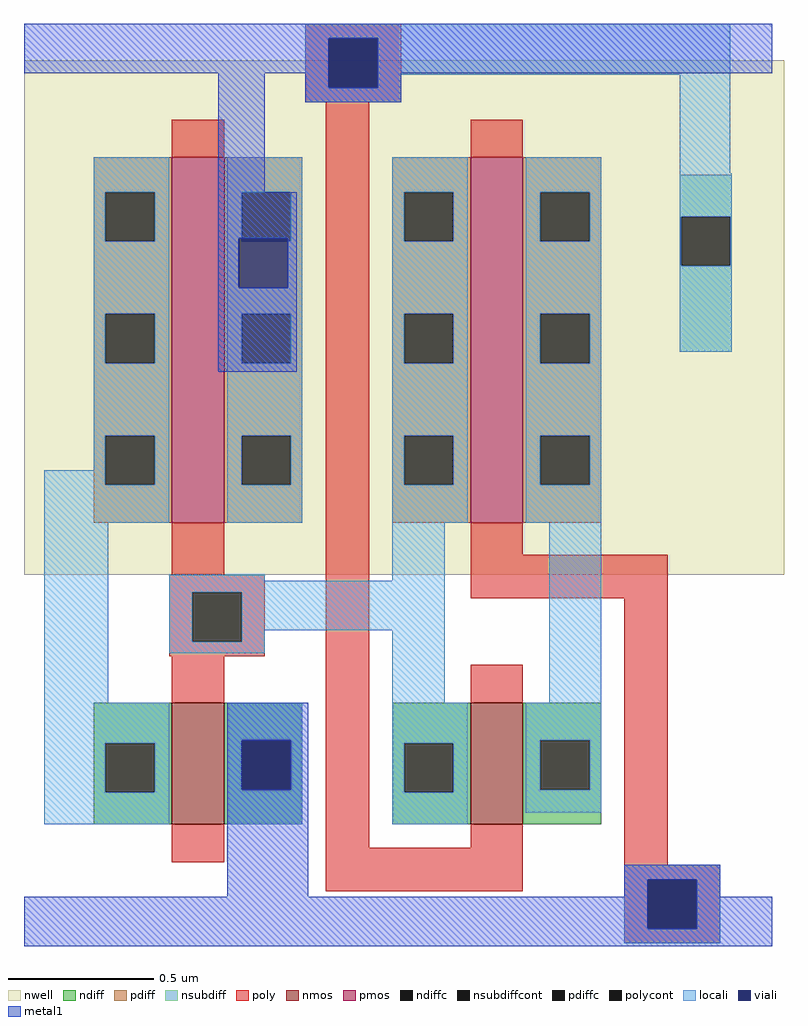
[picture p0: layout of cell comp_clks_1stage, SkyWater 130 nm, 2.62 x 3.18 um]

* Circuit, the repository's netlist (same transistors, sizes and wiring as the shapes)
* SPICE3 file created from /home/sky/fossi_cochlea/mag/clkgen/comp_clks_1stage.ext - technology: sky130A

X0 a_684_618# a_646_734# a_594_618# a_684_618# sky130_fd_pr__nfet_01v8 ad=0p pd=0u as=0p ps=0u w=420000u l=180000u
X1 w_546_790# a_646_734# a_594_618# w_546_790# sky130_fd_pr__pfet_01v8 ad=0p pd=0u as=0p ps=0u w=1.26e+06u l=180000u
X2 a_890_618# w_546_790# a_646_734# a_684_618# sky130_fd_pr__nfet_01v8 ad=0p pd=0u as=0p ps=0u w=420000u l=180000u
X3 a_890_618# a_684_618# a_646_734# w_546_790# sky130_fd_pr__pfet_01v8 ad=0p pd=0u as=0p ps=0u w=1.26e+06u l=180000u

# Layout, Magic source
magic
tech sky130A
magscale 1 2
<< nwell >>
rect 546 790 1070 1145
<< nmos >>
rect 648 618 684 702
rect 854 618 890 702
<< pmos >>
rect 648 826 684 1078
rect 854 826 890 1078
<< ndiff >>
rect 594 674 648 702
rect 594 640 602 674
rect 636 640 648 674
rect 594 618 648 640
rect 684 676 738 702
rect 684 642 696 676
rect 730 642 738 676
rect 684 618 738 642
rect 800 674 854 702
rect 800 640 808 674
rect 842 640 854 674
rect 800 618 854 640
rect 890 676 944 702
rect 890 642 902 676
rect 936 642 944 676
rect 890 618 944 642
<< pdiff >>
rect 594 1054 648 1078
rect 594 1020 602 1054
rect 636 1020 648 1054
rect 594 970 648 1020
rect 594 936 602 970
rect 636 936 648 970
rect 594 886 648 936
rect 594 852 602 886
rect 636 852 648 886
rect 594 826 648 852
rect 684 1054 738 1078
rect 684 1020 696 1054
rect 730 1020 738 1054
rect 684 970 738 1020
rect 684 936 696 970
rect 730 936 738 970
rect 684 886 738 936
rect 684 852 696 886
rect 730 852 738 886
rect 684 826 738 852
rect 800 1054 854 1078
rect 800 1020 808 1054
rect 842 1020 854 1054
rect 800 970 854 1020
rect 800 936 808 970
rect 842 936 854 970
rect 800 886 854 936
rect 800 852 808 886
rect 842 852 854 886
rect 800 826 854 852
rect 890 1054 944 1078
rect 890 1020 902 1054
rect 936 1020 944 1054
rect 890 970 944 1020
rect 890 936 902 970
rect 936 936 944 970
rect 890 886 944 936
rect 890 852 902 886
rect 936 852 944 886
rect 890 826 944 852
<< ndiffc >>
rect 602 640 636 674
rect 696 642 730 676
rect 808 640 842 674
rect 902 642 936 676
<< pdiffc >>
rect 602 1020 636 1054
rect 602 936 636 970
rect 602 852 636 886
rect 696 1020 730 1054
rect 696 936 730 970
rect 696 852 730 886
rect 808 1020 842 1054
rect 808 936 842 970
rect 808 852 842 886
rect 902 1020 936 1054
rect 902 936 936 970
rect 902 852 936 886
<< nsubdiff >>
rect 998 1037 1034 1066
rect 998 1003 999 1037
rect 1033 1003 1034 1037
rect 998 944 1034 1003
<< nsubdiffcont >>
rect 999 1003 1033 1037
<< poly >>
rect 740 1160 806 1170
rect 740 1126 756 1160
rect 790 1126 806 1160
rect 740 1116 806 1126
rect 648 1078 684 1104
rect 648 790 684 826
rect 646 778 712 790
rect 646 744 662 778
rect 696 744 712 778
rect 646 734 712 744
rect 648 702 684 734
rect 648 592 684 618
rect 754 602 784 1116
rect 854 1078 890 1104
rect 854 804 890 826
rect 854 774 990 804
rect 854 702 890 728
rect 854 602 890 618
rect 754 572 890 602
rect 960 590 990 774
rect 960 580 1026 590
rect 960 546 976 580
rect 1010 546 1026 580
rect 960 536 1026 546
<< polycont >>
rect 756 1126 790 1160
rect 662 744 696 778
rect 976 546 1010 580
<< locali >>
rect 740 1160 1033 1170
rect 740 1126 756 1160
rect 790 1135 1033 1160
rect 790 1126 806 1135
rect 740 1116 806 1126
rect 594 1054 646 1078
rect 594 1020 602 1054
rect 636 1020 646 1054
rect 594 970 646 1020
rect 594 936 602 970
rect 636 936 646 970
rect 594 886 646 936
rect 594 862 602 886
rect 560 852 602 862
rect 636 852 646 886
rect 560 826 646 852
rect 686 1054 738 1078
rect 686 1022 696 1054
rect 686 988 694 1022
rect 730 1020 738 1054
rect 728 988 738 1020
rect 686 970 738 988
rect 686 936 696 970
rect 730 936 738 970
rect 686 886 738 936
rect 686 852 696 886
rect 730 852 738 886
rect 686 826 738 852
rect 800 1054 852 1078
rect 800 1020 808 1054
rect 842 1020 852 1054
rect 800 970 852 1020
rect 800 936 808 970
rect 842 936 852 970
rect 800 886 852 936
rect 800 852 808 886
rect 842 852 852 886
rect 800 826 852 852
rect 892 1054 944 1078
rect 892 1020 902 1054
rect 936 1020 944 1054
rect 892 970 944 1020
rect 892 936 902 970
rect 936 936 944 970
rect 998 1067 1033 1135
rect 998 1037 1034 1067
rect 998 1003 999 1037
rect 1033 1003 1034 1037
rect 998 944 1034 1003
rect 892 886 944 936
rect 892 852 902 886
rect 936 852 944 886
rect 892 826 944 852
rect 560 702 604 826
rect 646 786 712 790
rect 800 786 836 826
rect 646 778 836 786
rect 646 744 662 778
rect 696 752 836 778
rect 696 744 712 752
rect 646 736 712 744
rect 800 702 836 752
rect 908 702 944 826
rect 560 674 646 702
rect 560 640 602 674
rect 636 640 646 674
rect 560 618 646 640
rect 686 676 738 702
rect 686 642 696 676
rect 730 642 738 676
rect 686 618 738 642
rect 800 674 852 702
rect 800 640 808 674
rect 842 640 852 674
rect 800 618 852 640
rect 892 676 944 702
rect 892 642 902 676
rect 936 642 944 676
rect 892 626 944 642
rect 960 580 1026 590
rect 960 546 976 580
rect 1010 546 1026 580
rect 960 536 1026 546
<< viali >>
rect 756 1126 790 1160
rect 694 1020 696 1022
rect 696 1020 728 1022
rect 694 988 728 1020
rect 696 642 730 676
rect 976 546 1010 580
<< metal1 >>
rect 546 1160 1062 1170
rect 546 1136 756 1160
rect 680 1054 712 1136
rect 740 1126 756 1136
rect 790 1136 1062 1160
rect 790 1126 806 1136
rect 740 1116 806 1126
rect 680 1022 734 1054
rect 680 988 694 1022
rect 728 988 734 1022
rect 680 930 734 988
rect 686 676 742 702
rect 686 642 696 676
rect 730 642 742 676
rect 686 568 742 642
rect 960 580 1026 590
rect 960 568 976 580
rect 546 546 976 568
rect 1010 568 1026 580
rect 1010 546 1062 568
rect 546 534 1062 546
<< end >>
